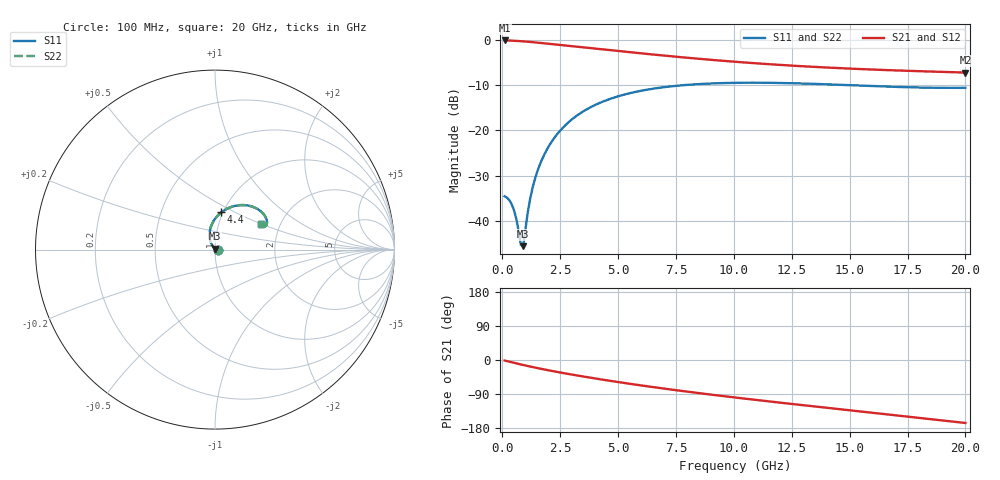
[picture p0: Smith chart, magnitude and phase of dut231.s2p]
! Created with skrf 1.9.0 (http://scikit-rf.org).
# GHz S RI R 50.0
!freq ReS11 ImS11 ReS21 ImS21 ReS12 ImS12 ReS22 ImS22
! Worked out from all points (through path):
!   200 points, 100 MHz to 20 GHz, reference 50 ohm
!   highest |S21| = -0.17 dB at 100 MHz (marker M1); lowest = -7.2 dB at 20 GHz (marker M2)
!   group delay of S21, straight-line fit = 21.7 ps
!   lowest |S11| = -45.5 dB at 900 MHz (marker M3), VSWR 1.01, Z = 50.1 + j0.514 ohm
!   |S11| at or under -10 dB: start of sweep to 7.895 GHz; 14.85 GHz to end of sweep
!   |S22| runs from -45.5 to -9.5 dB; largest |S21 - S12| = 1.9e-15
!   S11 on the Smith chart (normalised r, x): 100 MHz: 1.04, -0.00; 4.4 GHz: 0.98, +0.43; 20 GHz: 1.60, +0.50
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0.1  0.0187 -0.000778  0.9804 -0.0253  0.9804 -0.0253  0.0187 -0.000778
0.3  0.017 -0.00136  0.975 -0.076  0.975 -0.076  0.017 -0.00136
0.5  0.0133 -0.000819  0.9651 -0.1255  0.9651 -0.1255  0.0133 -0.000819
0.6  0.0107 -1.07e-05  0.9586 -0.1495  0.9586 -0.1495  0.0107 -1.07e-05
0.8  0.00463 0.00293  0.9429 -0.1957  0.9429 -0.1957  0.00463 0.00293
0.9  0.00126 0.00513  0.9338 -0.2178  0.9338 -0.2178  0.00126 0.00513
1.1  -0.00573 0.0111  0.9136 -0.2598  0.9136 -0.2598  -0.00573 0.0111
1.2  -0.00921 0.0148  0.9025 -0.2797  0.9025 -0.2797  -0.00921 0.0148
1.4  -0.0158 0.0237  0.8791 -0.3172  0.8791 -0.3172  -0.0158 0.0237
1.7  -0.0239 0.0402  0.8413 -0.3681  0.8413 -0.3681  -0.0239 0.0402
2  -0.0291 0.0595  0.8015 -0.4128  0.8015 -0.4128  -0.0291 0.0595
2.4  -0.0307 0.0875  0.7468 -0.4642  0.7468 -0.4642  -0.0307 0.0875
2.9  -0.0243 0.123  0.6774 -0.5171  0.6774 -0.5171  -0.0243 0.123
3.5  -0.00609 0.162  0.5944 -0.5665  0.5944 -0.5665  -0.00609 0.162
4.4  0.0351 0.2074  0.473 -0.6168  0.473 -0.6168  0.0351 0.2074
5.5  0.0942 0.2389  0.3336 -0.6467  0.3336 -0.6467  0.0942 0.2389
6.8  0.1604 0.248  0.1867 -0.6484  0.1867 -0.6484  0.1604 0.248
8.4  0.2234 0.2331  0.0355 -0.6175  0.0355 -0.6175  0.2234 0.2331
10.1  0.2652 0.2038  -0.092 -0.5621  -0.092 -0.5621  0.2652 0.2038
13.4  0.2896 0.1501  -0.2664 -0.4259  -0.2664 -0.4259  0.2896 0.1501
16.7  0.2749 0.1285  -0.373 -0.2711  -0.373 -0.2711  0.2749 0.1285
20  0.2574 0.1434  -0.4216 -0.1035  -0.4216 -0.1035  0.2574 0.1434
